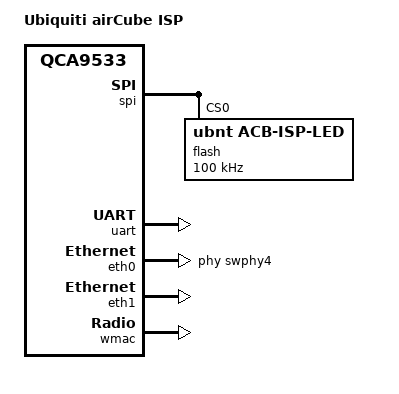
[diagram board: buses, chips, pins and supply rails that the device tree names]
// SPDX-License-Identifier: GPL-2.0-or-later OR MIT
/dts-v1/;

#include <dt-bindings/gpio/gpio.h>
#include <dt-bindings/input/input.h>

#include "qca953x.dtsi"

/ {
	compatible = "ubnt,acb-isp", "qca,qca9533";
	model = "Ubiquiti airCube ISP";

	aliases {
		serial0 = &uart;
	};
};

&pinmux {
};

&spi {
	status = "okay";
	num-cs = <1>;

	flash@0 {
		compatible = "ubnt,acb-isp-led";
		reg = <0>;
		spi-max-frequency = <100000>;
	};
};

&uart {
	status = "okay";
};

&eth0 {
	status = "okay";
	mtd-mac-address = <&art 0x0>;
	phy-handle = <&swphy4>;
};

&eth1 {
	status = "okay";
	mtd-mac-address = <&art 0x6>;

	gmac-config {
		device = <&gmac>;
	};
};

&wmac {
	status = "okay";
	mtd-cal-data = <&art 0x1000>;
	mtd-mac-address = <&art 0x0>;
	mtd-mac-address-increment-byte = <3>;
	mtd-mac-address-increment = <1>;
};
